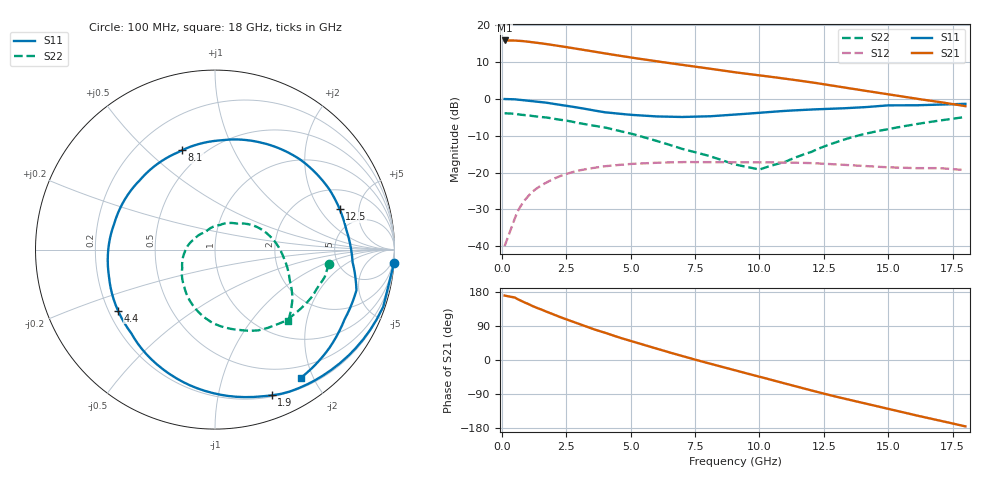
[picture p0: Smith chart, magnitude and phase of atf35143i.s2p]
!atf35143
!2V 10mA
# ghz s ma r 50
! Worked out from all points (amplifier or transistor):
!   177 points, 100 MHz to 18 GHz, reference 50 ohm
!   highest |S21| = 15.9 dB at 100 MHz (marker M1)
!   |S21| within 3 dB of that: start of sweep to 3.533 GHz
!   unconditionally stable (mu >= 1): 8.333 GHz to end of sweep
!   at 3.3 GHz: K = 0.46, MSG = 16.1 dB, |S12| = -19.0 dB
!   at 9.2 GHz: K = 1.07, MAG = 10.6 dB, |S12| = -17.2 dB
!   at 18 GHz: K = 1.41, MAG = 4.9 dB, |S12| = -19.3 dB
!   lowest NFmin = 0.10 dB at 500 MHz
!   S11 on the Smith chart (normalised r, x): 100 MHz: 0, -26; 1.9 GHz: 0.21, -1.44; 4.4 GHz: 0.24, -0.27; 8.1 GHz: 0.39, +0.65; 12.5 GHz: 3.24, +3.13; 18 GHz: 0.33, -1.83
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0.1  1 -4.3  6.25 170.0  0.01 80.0  0.64 -7.0
0.5  0.99 -18.8  6.23 164.8  0.024 77.6  0.63 -14.1
0.8  0.9655 -31.2  6.131 154.3  0.03847 69.3  0.6078 -21.1
1.3  0.9241 -49.5  5.836 139.0  0.05929 57.9  0.5806 -34.3
1.9  0.8715 -68.7  5.465 122.9  0.07893 46.0  0.5477 -48.4
2.5  0.81 -87.6  5.08 107.4  0.096 34.6  0.51 -62.0
3.1  0.7486 -106.7  4.693 92.5  0.1087 23.8  0.4632 -74.6
3.7  0.6871 -126.4  4.33 78.2  0.1179 13.5  0.4263 -86.4
4.4  0.6386 -147.8  3.956 62.8  0.1258 2.6  0.3801 -99.4
5.3  0.6004 -174.4  3.539 44.0  0.1326 -10.5  0.3176 -116.2
6.1  0.5789 162.9  3.222 28.2  0.1363 -21.6  0.2636 -131.5
7.1  0.5711 134.3  2.878 8.7  0.139 -35.1  0.2058 -153.0
8.1  0.5832 108.3  2.579 -10.0  0.1389 -46.9  0.1658 -177.9
9.1  0.6142 84.6  2.297 -28.2  0.138 -58.8  0.1279 150.4
10  0.65 66.2  2.1 -43.9  0.138 -68.2  0.11 118.2
10.6  0.6745 54.4  1.972 -55.0  0.1374 -75.0  0.1283 93.7
12.1  0.7221 25.8  1.669 -81.7  0.1344 -92.0  0.1973 47.6
12.5  0.7302 18.0  1.588 -88.7  0.1319 -96.6  0.2257 39.6
13.7  0.7612 -1.2  1.363 -108.3  0.1248 -108.3  0.3095 15.4
15.1  0.82 -17.3  1.146 -130.3  0.1177 -121.1  0.3962 -9.4
16.5  0.8302 -34.5  0.9642 -152.3  0.115 -134.8  0.4805 -27.3
18  0.86 -56.1  0.8 -175.2  0.108 -149.2  0.57 -44.4
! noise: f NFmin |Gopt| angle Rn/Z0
0.5  0.1  0.88  5  0.15
0.9  0.11  0.84  14  0.15
1.5  0.17  0.77  26  0.15
1.8  0.2  0.74  31.9  0.15
2.5  0.29  0.66  48.6  0.14
3  0.34  0.6  60.6  0.12
5  0.58  0.45  115.3  0.08
6  0.69  0.4  145.8  0.05
8  0.92  0.35  -149.3  0.07
10  1.16  0.37  -81.8  0.22
